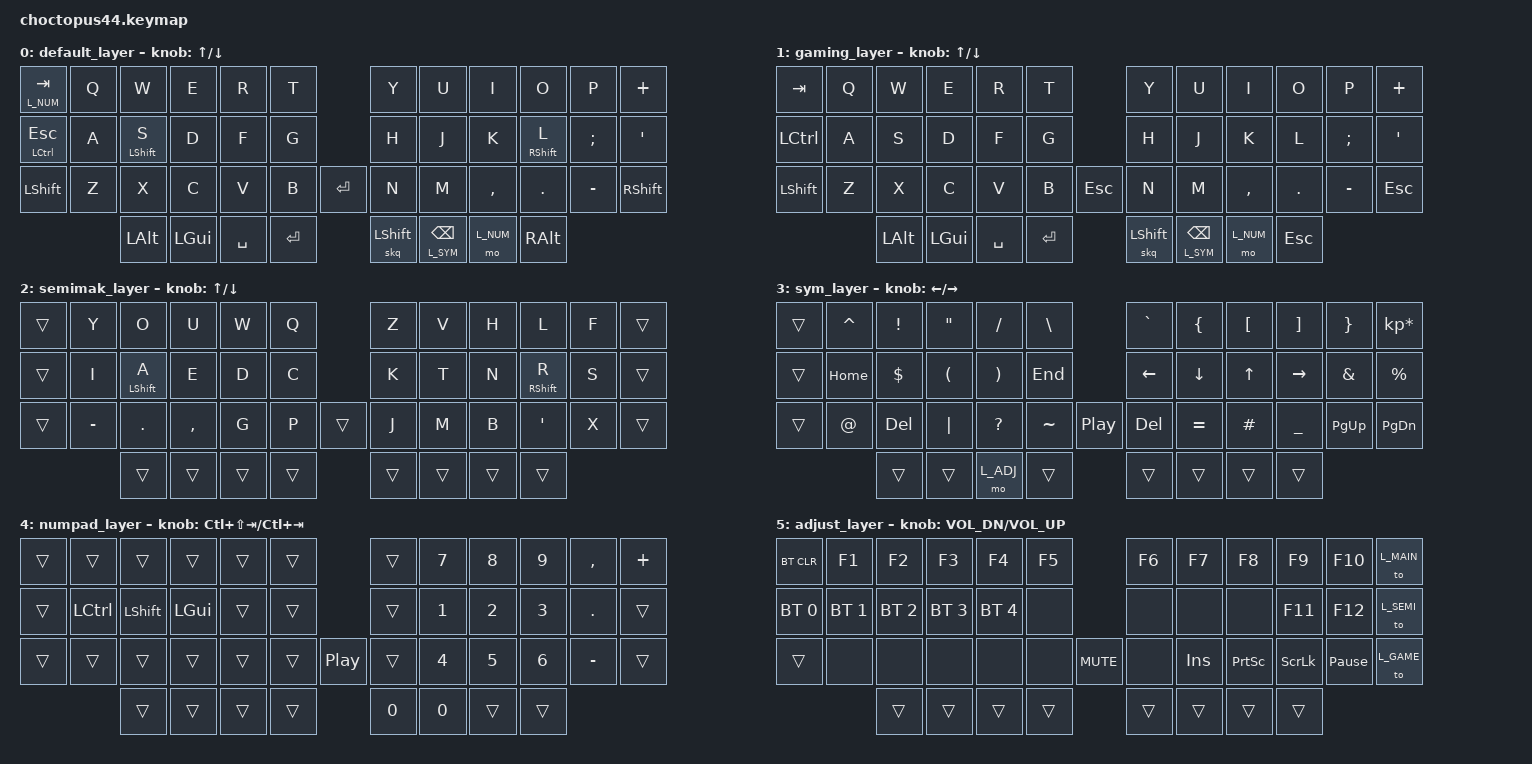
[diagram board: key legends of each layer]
/*
 * vim:ft=dts
 * vim:sw=2
 * Copyright (c) 2021 The ZMK Contributors
 *
 * SPDX-License-Identifier: MIT
 */

#include <behaviors.dtsi>
#include <dt-bindings/zmk/keys.h>
#include <dt-bindings/zmk/bt.h>
#include <dt-bindings/zmk/rgb.h>


#define QUICK_TAP <200>
#define FLAVOR "tap-preferred"

#define L_MAIN 0
#define L_GAME 1
#define L_SEMI 2
#define L_SYM 3
#define L_NUM 4
#define L_ADJ 5


#define COMBO(name, time, time_free, keys, the_bindings) combo_##name { timeout-ms = <time>; require-prior-idle-ms = <time_free>; key-positions = keys; bindings = <the_bindings>; layers = <L_MAIN L_SEMI L_SYM L_NUM L_ADJ>; }
//#define COMBO(name, time, time_free, keys, the_bindings) combo_##name { timeout-ms = <time>; timeout-ms-freestanding = <time_free>; key-positions = keys; bindings = <the_bindings>; layers = <L_MAIN L_SEMI L_SYM L_NUM L_ADJ>; }
#define MACRO(name, ...) m_##name: m_##name { compatible = "zmk,behavior-macro"; #binding-cells = <0>; /*label = #name; */ bindings = __VA_ARGS__; }

&mt {
  tapping-term-ms = <160>;
  quick_tap_ms = QUICK_TAP;
  flavor = FLAVOR;
};

&lt {
  tapping-term-ms = <160>;
  quick_tap_ms = QUICK_TAP;
  flavor = "balanced";
};

/ {

  behaviors {

    skq: sticky_key_quick_release {
      compatible = "zmk,behavior-sticky-key";
      //label = "STICKY_KEY_QUICK_RELEASE";
      #binding-cells = <1>;
      bindings = <&kp>;
      release-after-ms = <300>;
      quick-release;
    };

    hmgui: homerow_gui {
      compatible = "zmk,behavior-hold-tap";
      //label = "HOMEROW_GUI";
      #binding-cells = <2>;
      tapping-term-ms = <200>;
      quick_tap_ms = QUICK_TAP;
      flavor = "tap-preferred";
      bindings = <&kp>, <&kp>;
    };


    MACRO(double_colon, <&kp COLON>, <&kp COLON>);
    MACRO(fat_arrow,    <&kp EQUAL>, <&kp GT>);
    MACRO(thin_arrow,   <&kp MINUS>, <&kp GT>);
    MACRO(uml_ae,       <&kp RALT>, <&kp DQT>, <&kp A>);
    MACRO(uml_oe,       <&kp RALT>, <&kp DQT>, <&kp O>);
    MACRO(uml_ue,       <&kp RALT>, <&kp DQT>, <&kp U>);
    MACRO(uml_ss,       <&kp RALT>, <&kp S>, <&kp S>);
  };

  combos {
    compatible = "zmk,combos";

    COMBO(control_backspace, 40, 60, <19 21>,    &kp LC(BSPC));


    COMBO(colon,             30, 40, <19 32>,    &kp COLON);
    COMBO(underscore,        30, 40, <20 33>,    &kp UNDERSCORE);
    COMBO(qmark,             20, 30, < 6  8>,    &kp QMARK);
    COMBO(exclmark,          20, 20, <20 22>,    &kp EXCL); 

    COMBO(vert_colon,        30, 40, < 7 19>,    &kp COLON);
    COMBO(vert_underscore,   30, 40, < 8 20>,    &kp UNDERSCORE);
    COMBO(vert_qmark,        20, 20, <13 22>,    &kp QMARK); 

    COMBO(thumb_colon,       20, 30, <42 19>,    &kp COLON);
    COMBO(thumb_underscore,  20, 30, <42 20>,    &kp UNDERSCORE);
    COMBO(thumb_qmark,       20, 30, <42 21>,    &kp QMARK);
    COMBO(thumb_excl,        20, 30, <42 22>,    &kp EXCL);

    COMBO(double_colon,      20, 30, <18 19>,    &m_double_colon); 
    COMBO(fat_arrow,         30, 40, <18 10>,    &m_fat_arrow); 
    COMBO(thin_arrow,        20, 40, <6 18 10>,  &m_thin_arrow); 

    COMBO(uml_ae,            30, 30, <13 14 15>, &m_uml_ae); 
    COMBO(uml_oe,            30, 30, <20 21 22>, &m_uml_oe); 
    COMBO(uml_ue,            30, 30, < 8  9 10>, &m_uml_ue); 
    COMBO(uml_ss,            30, 30, <14 15 16>, &m_uml_ss); 
  };

  keymap {
    compatible = "zmk,keymap";
    default_layer {
      bindings = <
        &lt L_NUM TAB    &kp Q   &kp W       &kp E          &kp R      &kp T                /*  5 */  &kp Y          &kp U          &kp I           &kp O        &kp P       &kp PLUS         /* 11 */
        &mt LCTRL ESC    &kp A   &mt LSHFT S &kp D          &kp F      &kp G                /* 17 */  &kp H          &kp J          &kp K           &mt RSHFT L  &kp SEMI    &kp SQT          /* 23 */
        &kp LSHFT        &kp Z   &kp X       &kp C          &kp V      &kp B      &kp RET   /* 30 */  &kp N          &kp M          &kp COMMA       &kp DOT      &kp MINUS   &kp RSHFT        /* 36 */
                                 &kp LALT    &kp LGUI       &kp SPACE  &kp RET              /* 40 */  &skq LSHIFT    &lt L_SYM BSPC &mo L_NUM       &kp RALT                                  /* 44 */
      >;
      sensor-bindings = <&inc_dec_kp UP DOWN>;
    };

    gaming_layer {
      bindings = <
        &kp TAB          &kp Q   &kp W       &kp E          &kp R      &kp T                /*  5 */  &kp Y          &kp U          &kp I           &kp O        &kp P       &kp PLUS         /* 11 */
        &kp LCTRL        &kp A   &kp S       &kp D          &kp F      &kp G                /* 17 */  &kp H          &kp J          &kp K           &kp L        &kp SEMI    &kp SQT          /* 23 */
        &kp LSHFT        &kp Z   &kp X       &kp C          &kp V      &kp B      &kp ESC   /* 30 */  &kp N          &kp M          &kp COMMA       &kp DOT      &kp MINUS   &kp ESC          /* 36 */
                                 &kp LALT    &kp LGUI       &kp SPACE  &kp RET              /* 40 */  &skq LSHFT     &lt L_SYM BSPC &mo L_NUM       &kp ESC                                   /* 44 */
      >;
      sensor-bindings = <&inc_dec_kp UP DOWN>;
    };

    semimak_layer {
      bindings = <
        &trans        &kp Y     &kp O       &kp U     &kp W      &kp Q                &kp Z      &kp V       &kp H  &kp L        &kp F  &trans    /* 11 */
        &trans        &kp I     &mt LSHFT A &kp E     &kp D      &kp C                &kp K      &kp T       &kp N  &mt RSHFT R  &kp S  &trans    /* 23 */
        &trans        &kp MINUS &kp DOT     &kp COMMA &kp G      &kp P      &trans    &kp J      &kp M       &kp B  &kp SQT      &kp X  &trans    /* 36 */
                                &trans      &trans    &trans     &trans               &trans     &trans      &trans &trans
      >;
      sensor-bindings = <&inc_dec_kp UP DOWN>;
    };

    sym_layer {
      bindings = <
        &trans &kp CARET &kp EXCL  &kp DQT  &kp SLASH &kp BSLH                        &kp GRAVE &kp LBRC  &kp LBKT    &kp RBKT    &kp RBRC   &kp KP_ASTERISK
        &trans &kp HOME  &kp DLLR  &kp LPAR &kp RPAR  &kp END                         &kp LEFT  &kp DOWN  &kp UP      &kp RIGHT   &kp AMPS   &kp PERCENT
        &trans &kp AT    &kp DEL   &kp PIPE &kp QMARK &kp TILDE   &kp C_PLAY_PAUSE    &kp DEL   &kp EQUAL &kp HASH    &kp UNDER   &kp PG_UP  &kp PG_DN
                         &trans    &trans   &mo L_ADJ &trans                          &trans    &trans    &trans      &trans
      >;
      sensor-bindings = <&inc_dec_kp LEFT RIGHT>;
    };

    numpad_layer {
      bindings = <
        &trans &trans    &trans    &trans   &trans  &trans                        &trans  &kp N7  &kp N8  &kp N9  &kp COMMA   &kp PLUS
        &trans &kp LCTRL &kp LSHFT &kp LGUI &trans  &trans                        &trans  &kp N1  &kp N2  &kp N3  &kp DOT     &trans
        &trans &trans    &trans    &trans   &trans  &trans    &kp C_PLAY_PAUSE    &trans  &kp N4  &kp N5  &kp N6  &kp MINUS   &trans
                         &trans    &trans   &trans  &trans                        &kp N0  &kp N0  &trans  &trans
      >;
      sensor-bindings = <&inc_dec_kp LC(LS(TAB)) LC(TAB)>;
    };

    adjust_layer {
      bindings = <
        &bt BT_CLR    &kp F1          &kp F2          &kp F3          &kp F4          &kp F5                    &kp F6  &kp F7        &kp F8        &kp F9      &kp F10           &to L_MAIN
        &bt BT_SEL 0  &bt BT_SEL 1    &bt BT_SEL 2    &bt BT_SEL 3    &bt BT_SEL 4    &none                     &none   &none         &none         &kp F11     &kp F12           &to L_SEMI
        &trans        &none           &none           &none           &none           &none       &kp C_MUTE    &none   &kp INSERT    &kp PSCRN     &kp SLCK    &kp PAUSE_BREAK   &to L_GAME
                                      &trans          &trans          &trans          &trans                    &trans  &trans        &trans        &trans
      >;
      sensor-bindings = <&inc_dec_kp C_VOL_DN C_VOL_UP>;
    };


  };
};
